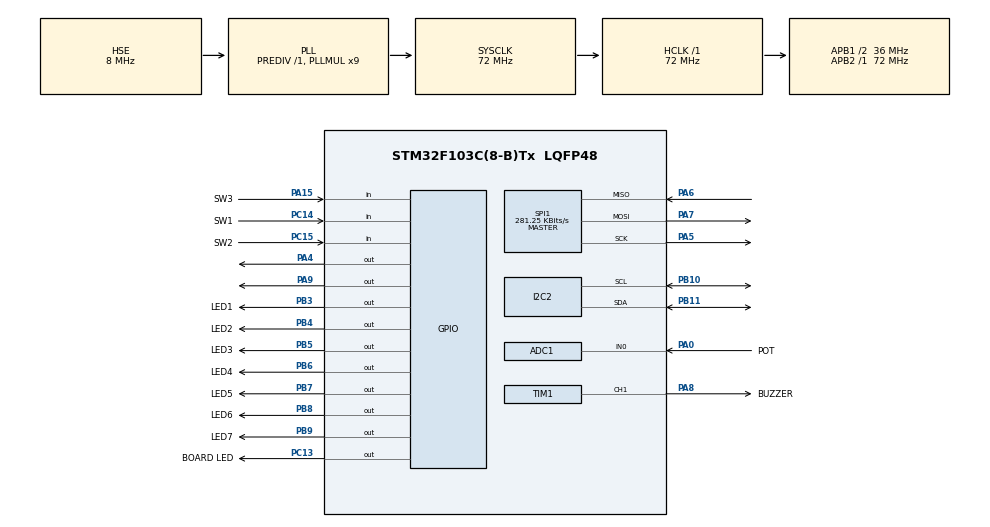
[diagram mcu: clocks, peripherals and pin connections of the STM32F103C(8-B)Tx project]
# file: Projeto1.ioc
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ADC1.Channel-0\#ChannelRegularConversion=ADC_CHANNEL_0
ADC1.NbrOfConversionFlag=1
ADC1.Rank-0\#ChannelRegularConversion=1
ADC1.SamplingTime-0\#ChannelRegularConversion=ADC_SAMPLETIME_1CYCLE_5
ADC1.master=1
I2C2.I2C_Mode=I2C_Fast
Mcu.Family=STM32F1
Mcu.Name=STM32F103C(8-B)Tx
Mcu.Package=LQFP48
NVIC.PriorityGroup=NVIC_PRIORITYGROUP_4
NVIC.TIM3_IRQn=true\:0\:0\:false\:false\:true\:true\:true\:true
PA0-WKUP.GPIO_Label=POT
PA0-WKUP.Signal=ADCx_IN0
PA13.Mode=Serial_Wire
PA13.Signal=SYS_JTMS-SWDIO
PA14.Mode=Serial_Wire
PA14.Signal=SYS_JTCK-SWCLK
PA15.GPIO_Label=SW3
PA15.Signal=GPIO_Input
PA4.GPIO_PuPd=GPIO_NOPULL
PA4.PinState=GPIO_PIN_SET
PA4.Signal=GPIO_Output
PA5.Mode=Full_Duplex_Master
PA5.Signal=SPI1_SCK
PA6.Mode=Full_Duplex_Master
PA6.Signal=SPI1_MISO
PA7.Mode=Full_Duplex_Master
PA7.Signal=SPI1_MOSI
PA8.GPIO_Label=BUZZER
PA8.Signal=S_TIM1_CH1
PA9.Signal=GPIO_Output
PB10.Mode=I2C
PB10.Signal=I2C2_SCL
PB11.Mode=I2C
PB11.Signal=I2C2_SDA
PB3.GPIO_Label=LED1
PB3.Signal=GPIO_Output
PB4.GPIO_Label=LED2
PB4.Signal=GPIO_Output
PB5.GPIO_Label=LED3
PB5.Signal=GPIO_Output
PB6.GPIO_Label=LED4
PB6.Signal=GPIO_Output
PB7.GPIO_Label=LED5
PB7.Signal=GPIO_Output
PB8.GPIO_Label=LED6
PB8.Signal=GPIO_Output
PB9.GPIO_Label=LED7
PB9.Signal=GPIO_Output
PC13-TAMPER-RTC.GPIO_Label=BOARD LED
PC13-TAMPER-RTC.Signal=GPIO_Output
PC14-OSC32_IN.GPIO_Label=SW1
PC14-OSC32_IN.Signal=GPIO_Input
PC15-OSC32_OUT.GPIO_Label=SW2
PC15-OSC32_OUT.Signal=GPIO_Input
PD0-OSC_IN.Mode=HSE-External-Oscillator
PD0-OSC_IN.Signal=RCC_OSC_IN
PD1-OSC_OUT.Mode=HSE-External-Oscillator
PD1-OSC_OUT.Signal=RCC_OSC_OUT
ProjectManager.HeapSize=0x200
ProjectManager.StackSize=0x400
ProjectManager.TargetToolchain=STM32CubeIDE
RCC.ADCPresc=RCC_ADCPCLK2_DIV6
RCC.AHBFreq_Value=72000000
RCC.APB1CLKDivider=RCC_HCLK_DIV2
RCC.APB1Freq_Value=36000000
RCC.APB1TimFreq_Value=72000000
RCC.APB2Freq_Value=72000000
RCC.APB2TimFreq_Value=72000000
RCC.HCLKFreq_Value=72000000
RCC.PLLMUL=RCC_PLL_MUL9
RCC.PLLSourceVirtual=RCC_PLLSOURCE_HSE
RCC.SYSCLKFreq_VALUE=72000000
RCC.SYSCLKSource=RCC_SYSCLKSOURCE_PLLCLK
RCC.USBFreq_Value=72000000
SH.ADCx_IN0.0=ADC1_IN0,IN0
SH.S_TIM1_CH1.0=TIM1_CH1,PWM Generation1 CH1
SPI1.BaudRatePrescaler=SPI_BAUDRATEPRESCALER_256
SPI1.CalculateBaudRate=281.25 KBits/s
SPI1.Direction=SPI_DIRECTION_2LINES
SPI1.Mode=SPI_MODE_MASTER
SPI1.VirtualType=VM_MASTER
TIM1.Channel-PWM\ Generation1\ CH1=TIM_CHANNEL_1
TIM1.Period=1000
TIM1.Prescaler=0
TIM1.Pulse-PWM\ Generation1\ CH1=500
TIM3.Period=65535
TIM3.Prescaler=72000-1
VP_FATFS_VS_Generic.Mode=User_defined
VP_TIM1_VS_ClockSourceINT.Mode=Internal
VP_TIM3_VS_ClockSourceINT.Mode=Internal
board=custom

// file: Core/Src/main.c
//1-controlar o pwm do buzzer utilizando o ADC do potenciômetro
//2-mostrar os dados do acelerometro no display oled alternar entre os valores de aceleração e rotação por meio do botão sw3
//3-apertando o botão sw2 deve gravar os valores do gy-521 no sd card
//4-apartando o sw1 deve se piscar os led e aparecer o autor no display
//5-som de inicio deve ser uma musica
/* USER CODE END Header */
#include "main.h"
#include "fatfs.h"
#include "ssd1306.h"
#include "fonts.h"
#include "gy521.h"
#include <stdio.h>

ADC_HandleTypeDef hadc1;
I2C_HandleTypeDef hi2c2;
SPI_HandleTypeDef hspi1;
TIM_HandleTypeDef htim1;
TIM_HandleTypeDef htim3;

void SystemClock_Config(void);
static void MX_GPIO_Init(void);
static void MX_ADC1_Init(void);
static void MX_TIM1_Init(void);
static void MX_TIM3_Init(void);
static void MX_I2C2_Init(void);
static void MX_SPI1_Init(void);

/* USER CODE BEGIN 0 */
void set_pwm_duty_from_adc(void) {//controle do pwm via adc
    HAL_ADC_Start(&hadc1);
    HAL_ADC_PollForConversion(&hadc1, HAL_MAX_DELAY);
    uint32_t adc_val = HAL_ADC_GetValue(&hadc1);
    HAL_ADC_Stop(&hadc1);

    uint32_t arr = __HAL_TIM_GET_AUTORELOAD(&htim1);
    uint32_t duty = (adc_val * arr) / 4095;

    __HAL_TIM_SET_COMPARE(&htim1, TIM_CHANNEL_1, duty);
}

void delay_ms(uint32_t ms) {//delay usando um contador do STM
    __HAL_TIM_SET_COUNTER(&htim3, 0);
    HAL_TIM_Base_Start(&htim3);
    while (__HAL_TIM_GET_COUNTER(&htim3) < ms);

    HAL_TIM_Base_Stop(&htim3);
}
void ledtest(void){//teste para ligar todos os leds da placa
		HAL_GPIO_TogglePin(GPIOC, GPIO_PIN_13);
		HAL_GPIO_TogglePin(GPIOB, GPIO_PIN_3);
		HAL_GPIO_TogglePin(GPIOB, GPIO_PIN_4);
		HAL_GPIO_TogglePin(GPIOB, GPIO_PIN_5);
		HAL_GPIO_TogglePin(GPIOB, GPIO_PIN_6);
		HAL_GPIO_TogglePin(GPIOB, GPIO_PIN_7);
		HAL_GPIO_TogglePin(GPIOB, GPIO_PIN_8);
		delay_ms(10000);
}

int nota (int hz){
int FREQ=72000000;
if (hz == 0) return 1;
return FREQ/(1000*hz);
}

void nothingelse(void) {//musica do buzzer pelo pwm
    int E = 82;
    int G = 196;
    int B = 247;
    int e = 330;

    __HAL_TIM_SET_PRESCALER(&htim1, nota(E));
    set_pwm_duty_from_adc();
    delay_ms(12000);

    __HAL_TIM_SET_PRESCALER(&htim1, nota(G));
    set_pwm_duty_from_adc();
    delay_ms(7000);

    __HAL_TIM_SET_PRESCALER(&htim1, nota(B));
    set_pwm_duty_from_adc();
    delay_ms(7000);

    __HAL_TIM_SET_PRESCALER(&htim1, nota(e));
    set_pwm_duty_from_adc();
    delay_ms(7000);

    __HAL_TIM_SET_PRESCALER(&htim1, nota(B));
    set_pwm_duty_from_adc();
    delay_ms(7000);

    __HAL_TIM_SET_PRESCALER(&htim1, nota(G));
    set_pwm_duty_from_adc();
    delay_ms(12000);
}
/* USER CODE END 0 */
FIL gyroFile;
char gyroFilename[] = "gyro_log.txt";
UINT bytesWritten;
int main(void)
{

  /* MCU Configuration--------------------------------------------------------*/

  /* Reset of all peripherals, Initializes the Flash interface and the Systick. */
  HAL_Init();

  /* Configure the system clock */
  SystemClock_Config();

  /* Initialize all configured peripherals */
  MX_GPIO_Init();
  MX_ADC1_Init();
  MX_TIM1_Init();
  MX_TIM3_Init();
  MX_I2C2_Init();
  MX_SPI1_Init();
  MX_FATFS_Init();
  /* USER CODE BEGIN 2 */

  SSD1306_Init();
  MPU6050_Init(&hi2c2);
  AxisRaw accel, gyro;
  /* USER CODE END 2 */

  /* Infinite loop */
  /* USER CODE BEGIN WHILE */
  while (1)
  {
  MPU6050_Read_Gyro(&hi2c2, &gyro);
  OLED_Show_GYRO(gyro);
  HAL_TIM_PWM_Start(&htim1, TIM_CHANNEL_1);
  nothingelse();
  delay_ms(500);
  if(HAL_GPIO_ReadPin(GPIOC, GPIO_PIN_14)==0){
	 HAL_TIM_PWM_Stop(&htim1, TIM_CHANNEL_1);
	 ledtest();
	 SSD1306_AUTOR();
	  delay_ms(5000);
  }
  if(HAL_GPIO_ReadPin(GPIOC, GPIO_PIN_15)==0){
	 HAL_TIM_PWM_Stop(&htim1, TIM_CHANNEL_1);
	 MPU6050_Read_Gyro(&hi2c2, &gyro);
	 char line[64];
	 snprintf(line, sizeof(line), "%ld %ld %ld\r\n",
	 (long)gyro.X,
	 (long)gyro.Y,
	 (long)gyro.Z);
	 if(f_open(&gyroFile, gyroFilename, FA_OPEN_ALWAYS | FA_WRITE) == FR_OK) {
		f_lseek(&gyroFile, f_size(&gyroFile)); // posiciona no fim
		f_write(&gyroFile, line, strlen(line), &bytesWritten);
		f_close(&gyroFile);
		}
     delay_ms(500);
   }
	if(HAL_GPIO_ReadPin(GPIOA, GPIO_PIN_15)==0){
	  HAL_TIM_PWM_Stop(&htim1, TIM_CHANNEL_1);
	  MPU6050_Read_Accel(&hi2c2, &accel);
	  OLED_Show_ACCEL(accel);
	  delay_ms(7000);
	}
}

}
  /* USER CODE END 3 */

void SystemClock_Config(void)
{
  RCC_OscInitTypeDef RCC_OscInitStruct = {0};
  RCC_ClkInitTypeDef RCC_ClkInitStruct = {0};
  RCC_PeriphCLKInitTypeDef PeriphClkInit = {0};

  /** Initializes the RCC Oscillators according to the specified parameters
  * in the RCC_OscInitTypeDef structure.
  */
  RCC_OscInitStruct.OscillatorType = RCC_OSCILLATORTYPE_HSE;
  RCC_OscInitStruct.HSEState = RCC_HSE_ON;
  RCC_OscInitStruct.HSEPredivValue = RCC_HSE_PREDIV_DIV1;
  RCC_OscInitStruct.HSIState = RCC_HSI_ON;
  RCC_OscInitStruct.PLL.PLLState = RCC_PLL_ON;
  RCC_OscInitStruct.PLL.PLLSource = RCC_PLLSOURCE_HSE;
  RCC_OscInitStruct.PLL.PLLMUL = RCC_PLL_MUL9;
  if (HAL_RCC_OscConfig(&RCC_OscInitStruct) != HAL_OK)
  {
    Error_Handler();
  }

  /** Initializes the CPU, AHB and APB buses clocks
  */
  RCC_ClkInitStruct.ClockType = RCC_CLOCKTYPE_HCLK|RCC_CLOCKTYPE_SYSCLK
                              |RCC_CLOCKTYPE_PCLK1|RCC_CLOCKTYPE_PCLK2;
  RCC_ClkInitStruct.SYSCLKSource = RCC_SYSCLKSOURCE_PLLCLK;
  RCC_ClkInitStruct.AHBCLKDivider = RCC_SYSCLK_DIV1;
  RCC_ClkInitStruct.APB1CLKDivider = RCC_HCLK_DIV2;
  RCC_ClkInitStruct.APB2CLKDivider = RCC_HCLK_DIV1;

  if (HAL_RCC_ClockConfig(&RCC_ClkInitStruct, FLASH_LATENCY_2) != HAL_OK)
  {
    Error_Handler();
  }
  PeriphClkInit.PeriphClockSelection = RCC_PERIPHCLK_ADC;
  PeriphClkInit.AdcClockSelection = RCC_ADCPCLK2_DIV6;
  if (HAL_RCCEx_PeriphCLKConfig(&PeriphClkInit) != HAL_OK)
  {
    Error_Handler();
  }
}

static void MX_ADC1_Init(void)
{

  ADC_ChannelConfTypeDef sConfig = {0};

  /** Common config
  */
  hadc1.Instance = ADC1;
  hadc1.Init.ScanConvMode = ADC_SCAN_DISABLE;
  hadc1.Init.ContinuousConvMode = DISABLE;
  hadc1.Init.DiscontinuousConvMode = DISABLE;
  hadc1.Init.ExternalTrigConv = ADC_SOFTWARE_START;
  hadc1.Init.DataAlign = ADC_DATAALIGN_RIGHT;
  hadc1.Init.NbrOfConversion = 1;
  if (HAL_ADC_Init(&hadc1) != HAL_OK)
  {
    Error_Handler();
  }

  /** Configure Regular Channel
  */
  sConfig.Channel = ADC_CHANNEL_0;
  sConfig.Rank = ADC_REGULAR_RANK_1;
  sConfig.SamplingTime = ADC_SAMPLETIME_1CYCLE_5;
  if (HAL_ADC_ConfigChannel(&hadc1, &sConfig) != HAL_OK)
  {
    Error_Handler();
  }

}

static void MX_I2C2_Init(void)
{

  hi2c2.Instance = I2C2;
  hi2c2.Init.ClockSpeed = 400000;
  hi2c2.Init.DutyCycle = I2C_DUTYCYCLE_2;
  hi2c2.Init.OwnAddress1 = 0;
  hi2c2.Init.AddressingMode = I2C_ADDRESSINGMODE_7BIT;
  hi2c2.Init.DualAddressMode = I2C_DUALADDRESS_DISABLE;
  hi2c2.Init.OwnAddress2 = 0;
  hi2c2.Init.GeneralCallMode = I2C_GENERALCALL_DISABLE;
  hi2c2.Init.NoStretchMode = I2C_NOSTRETCH_DISABLE;
  if (HAL_I2C_Init(&hi2c2) != HAL_OK)
  {
    Error_Handler();
  }

}

static void MX_SPI1_Init(void)
{

  /* SPI1 parameter configuration*/
  hspi1.Instance = SPI1;
  hspi1.Init.Mode = SPI_MODE_MASTER;
  hspi1.Init.Direction = SPI_DIRECTION_2LINES;
  hspi1.Init.DataSize = SPI_DATASIZE_8BIT;
  hspi1.Init.CLKPolarity = SPI_POLARITY_LOW;
  hspi1.Init.CLKPhase = SPI_PHASE_1EDGE;
  hspi1.Init.NSS = SPI_NSS_SOFT;
  hspi1.Init.BaudRatePrescaler = SPI_BAUDRATEPRESCALER_256;
  hspi1.Init.FirstBit = SPI_FIRSTBIT_MSB;
  hspi1.Init.TIMode = SPI_TIMODE_DISABLE;
  hspi1.Init.CRCCalculation = SPI_CRCCALCULATION_DISABLE;
  hspi1.Init.CRCPolynomial = 10;
  if (HAL_SPI_Init(&hspi1) != HAL_OK)
  {
    Error_Handler();
  }

}

static void MX_TIM1_Init(void)
{

  TIM_ClockConfigTypeDef sClockSourceConfig = {0};
  TIM_MasterConfigTypeDef sMasterConfig = {0};
  TIM_OC_InitTypeDef sConfigOC = {0};
  TIM_BreakDeadTimeConfigTypeDef sBreakDeadTimeConfig = {0};

  htim1.Instance = TIM1;
  htim1.Init.Prescaler = 0;
  htim1.Init.CounterMode = TIM_COUNTERMODE_UP;
  htim1.Init.Period = 1000;
  htim1.Init.ClockDivision = TIM_CLOCKDIVISION_DIV1;
  htim1.Init.RepetitionCounter = 0;
  htim1.Init.AutoReloadPreload = TIM_AUTORELOAD_PRELOAD_DISABLE;
  if (HAL_TIM_Base_Init(&htim1) != HAL_OK)
  {
    Error_Handler();
  }
  sClockSourceConfig.ClockSource = TIM_CLOCKSOURCE_INTERNAL;
  if (HAL_TIM_ConfigClockSource(&htim1, &sClockSourceConfig) != HAL_OK)
  {
    Error_Handler();
  }
  if (HAL_TIM_PWM_Init(&htim1) != HAL_OK)
  {
    Error_Handler();
  }
  sMasterConfig.MasterOutputTrigger = TIM_TRGO_RESET;
  sMasterConfig.MasterSlaveMode = TIM_MASTERSLAVEMODE_DISABLE;
  if (HAL_TIMEx_MasterConfigSynchronization(&htim1, &sMasterConfig) != HAL_OK)
  {
    Error_Handler();
  }
  sConfigOC.OCMode = TIM_OCMODE_PWM1;
  sConfigOC.Pulse = 500;
  sConfigOC.OCPolarity = TIM_OCPOLARITY_HIGH;
  sConfigOC.OCNPolarity = TIM_OCNPOLARITY_HIGH;
  sConfigOC.OCFastMode = TIM_OCFAST_DISABLE;
  sConfigOC.OCIdleState = TIM_OCIDLESTATE_RESET;
  sConfigOC.OCNIdleState = TIM_OCNIDLESTATE_RESET;
  if (HAL_TIM_PWM_ConfigChannel(&htim1, &sConfigOC, TIM_CHANNEL_1) != HAL_OK)
  {
    Error_Handler();
  }
  sBreakDeadTimeConfig.OffStateRunMode = TIM_OSSR_DISABLE;
  sBreakDeadTimeConfig.OffStateIDLEMode = TIM_OSSI_DISABLE;
  sBreakDeadTimeConfig.LockLevel = TIM_LOCKLEVEL_OFF;
  sBreakDeadTimeConfig.DeadTime = 0;
  sBreakDeadTimeConfig.BreakState = TIM_BREAK_DISABLE;
  sBreakDeadTimeConfig.BreakPolarity = TIM_BREAKPOLARITY_HIGH;
  sBreakDeadTimeConfig.AutomaticOutput = TIM_AUTOMATICOUTPUT_DISABLE;
  if (HAL_TIMEx_ConfigBreakDeadTime(&htim1, &sBreakDeadTimeConfig) != HAL_OK)
  {
    Error_Handler();
  }
  HAL_TIM_MspPostInit(&htim1);

}

static void MX_TIM3_Init(void)
{

  TIM_ClockConfigTypeDef sClockSourceConfig = {0};
  TIM_MasterConfigTypeDef sMasterConfig = {0};

  htim3.Instance = TIM3;
  htim3.Init.Prescaler = 72000-1;
  htim3.Init.CounterMode = TIM_COUNTERMODE_UP;
  htim3.Init.Period = 65535;
  htim3.Init.ClockDivision = TIM_CLOCKDIVISION_DIV1;
  htim3.Init.AutoReloadPreload = TIM_AUTORELOAD_PRELOAD_DISABLE;
  if (HAL_TIM_Base_Init(&htim3) != HAL_OK)
  {
    Error_Handler();
  }
  sClockSourceConfig.ClockSource = TIM_CLOCKSOURCE_INTERNAL;
  if (HAL_TIM_ConfigClockSource(&htim3, &sClockSourceConfig) != HAL_OK)
  {
    Error_Handler();
  }
  sMasterConfig.MasterOutputTrigger = TIM_TRGO_RESET;
  sMasterConfig.MasterSlaveMode = TIM_MASTERSLAVEMODE_DISABLE;
  if (HAL_TIMEx_MasterConfigSynchronization(&htim3, &sMasterConfig) != HAL_OK)
  {
    Error_Handler();
  }

}

static void MX_GPIO_Init(void)
{
  GPIO_InitTypeDef GPIO_InitStruct = {0};

  /* GPIO Ports Clock Enable */
  __HAL_RCC_GPIOC_CLK_ENABLE();
  __HAL_RCC_GPIOD_CLK_ENABLE();
  __HAL_RCC_GPIOA_CLK_ENABLE();
  __HAL_RCC_GPIOB_CLK_ENABLE();

  /*Configure GPIO pin Output Level */
  HAL_GPIO_WritePin(BOARD_LED_GPIO_Port, BOARD_LED_Pin, GPIO_PIN_RESET);

  /*Configure GPIO pin Output Level */
  HAL_GPIO_WritePin(GPIOA, GPIO_PIN_4, GPIO_PIN_SET);

  /*Configure GPIO pin Output Level */
  HAL_GPIO_WritePin(GPIOA, GPIO_PIN_9, GPIO_PIN_RESET);

  /*Configure GPIO pin Output Level */
  HAL_GPIO_WritePin(GPIOB, LED1_Pin|LED2_Pin|LED3_Pin|LED4_Pin
                          |LED5_Pin|LED6_Pin|LED7_Pin, GPIO_PIN_RESET);

  /*Configure GPIO pin : BOARD_LED_Pin */
  GPIO_InitStruct.Pin = BOARD_LED_Pin;
  GPIO_InitStruct.Mode = GPIO_MODE_OUTPUT_PP;
  GPIO_InitStruct.Pull = GPIO_NOPULL;
  GPIO_InitStruct.Speed = GPIO_SPEED_FREQ_LOW;
  HAL_GPIO_Init(BOARD_LED_GPIO_Port, &GPIO_InitStruct);

  /*Configure GPIO pins : SW1_Pin SW2_Pin */
  GPIO_InitStruct.Pin = SW1_Pin|SW2_Pin;
  GPIO_InitStruct.Mode = GPIO_MODE_INPUT;
  GPIO_InitStruct.Pull = GPIO_NOPULL;
  HAL_GPIO_Init(GPIOC, &GPIO_InitStruct);

  /*Configure GPIO pins : PA4 PA9 */
  GPIO_InitStruct.Pin = GPIO_PIN_4|GPIO_PIN_9;
  GPIO_InitStruct.Mode = GPIO_MODE_OUTPUT_PP;
  GPIO_InitStruct.Pull = GPIO_NOPULL;
  GPIO_InitStruct.Speed = GPIO_SPEED_FREQ_LOW;
  HAL_GPIO_Init(GPIOA, &GPIO_InitStruct);

  /*Configure GPIO pin : SW3_Pin */
  GPIO_InitStruct.Pin = SW3_Pin;
  GPIO_InitStruct.Mode = GPIO_MODE_INPUT;
  GPIO_InitStruct.Pull = GPIO_NOPULL;
  HAL_GPIO_Init(SW3_GPIO_Port, &GPIO_InitStruct);

  /*Configure GPIO pins : LED1_Pin LED2_Pin LED3_Pin LED4_Pin
                           LED5_Pin LED6_Pin LED7_Pin */
  GPIO_InitStruct.Pin = LED1_Pin|LED2_Pin|LED3_Pin|LED4_Pin
                          |LED5_Pin|LED6_Pin|LED7_Pin;
  GPIO_InitStruct.Mode = GPIO_MODE_OUTPUT_PP;
  GPIO_InitStruct.Pull = GPIO_NOPULL;
  GPIO_InitStruct.Speed = GPIO_SPEED_FREQ_LOW;
  HAL_GPIO_Init(GPIOB, &GPIO_InitStruct);

}

void Error_Handler(void)
{
  __disable_irq();
  while (1)
  {
  }
}
